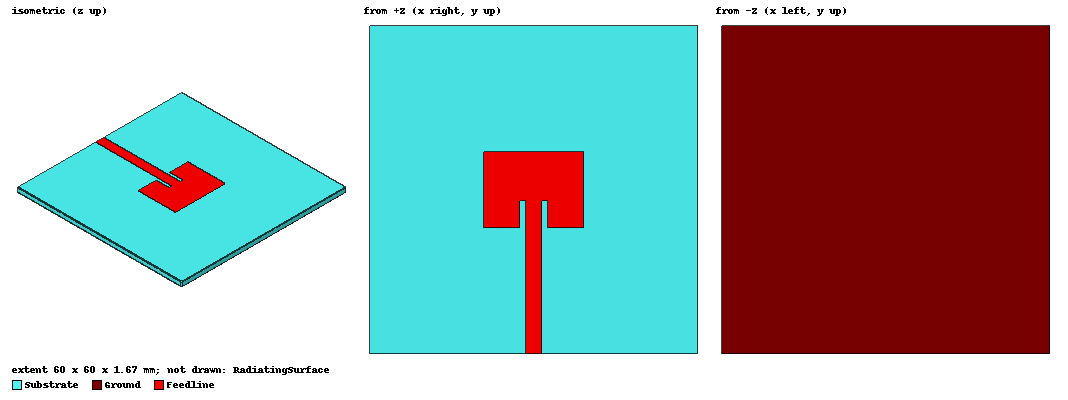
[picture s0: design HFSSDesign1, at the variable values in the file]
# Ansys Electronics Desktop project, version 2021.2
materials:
  vacuum: permittivity=1
  copper: permeability=0.999991 conductivity=58000000
  FR4_epoxy: permittivity=4.4 dielectric_loss_tangent=0.02

design HFSSDesign1 (HFSS, DrivenModal, model units mm)
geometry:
  Substrate [FR4_epoxy] = box(corner=(-30mm, -30mm, 0mm), size=(60mm, 60mm, 1.6mm))
  Ground [copper] = box(corner=(-30mm, -30mm, 0mm), size=(60mm, 60mm, -0.035mm))
  Patch = box(corner=((-18.25/2) mm, (-13.76/2) mm, 1.6mm), size=(18.25mm, 13.76mm, 0.035mm))
  Feedline [copper] = box(corner=(-1.5mm, 0mm, 1.6mm), size=(3mm, -30mm, 0.035mm))
  Cut = box(corner=(-2.5mm, -6.88mm, 1.6mm), size=(5mm, 4.82mm, 0.035mm))
  Patch.subtract(Cut)
  Feedline.unite(Patch)
  Rectangle1 = rectangle(corner=(-1.5mm, -30mm, 1.635mm), z_size=-1.67mm, x_size=3mm)
  RadiatingSurface [vacuum] = region(absolute_offset=20mm on all sides)
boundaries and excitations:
  Open1: Radiation Objects=RadiatingSurface
  1: Lumped Port Objects=Rectangle1 Modes{Mode1{IntLine{middle of Rectangle1.edge(z opposite corner) -> middle of Rectangle1.edge(z at corner)} CharImp=Zpi RenormImp=50ohm}} Impedance=50ohm
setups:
  Setup1: HfssDriven Frequency=5GHz MaxDeltaS=0.1 MaximumPasses=10 MinimumPasses=1 MinimumConvergedPasses=1 PercentRefinement=30 BasisOrder=1 PortAccuracy=2
    sweep Sweep: 2.5GHz to 7.5GHz, 401 points; Type=Fast SaveFields
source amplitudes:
  1:1: 1W 0deg
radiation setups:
  3D: Infinite Sphere Theta=0deg..0deg step 0deg Phi=0deg..0deg step 0deg
  Elevation: Infinite Sphere Theta=-180deg..180deg step 1deg Phi=0deg..90deg step 90deg
  Azimuth: Infinite Sphere Theta=90deg..90deg step 0deg Phi=-180deg..180deg step 1deg
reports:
  S Parameter Plot 1: dB(S(1,1)) vs Freq on Setup1 : Sweep
  rE Plot 1: rETotal vs Phi, Theta on Setup1 : LastAdaptive, 3D [Freq=5GHz]
